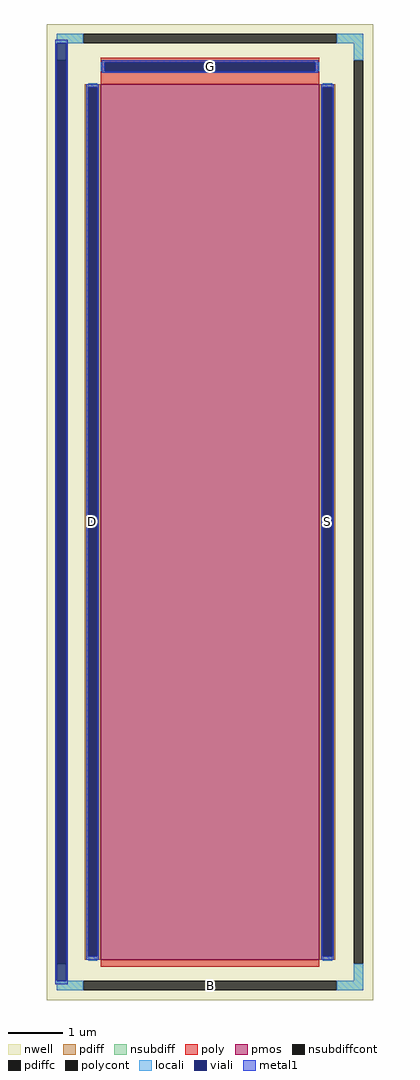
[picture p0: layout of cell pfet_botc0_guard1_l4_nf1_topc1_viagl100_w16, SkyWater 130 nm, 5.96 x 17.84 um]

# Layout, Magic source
magic
tech sky130A
magscale 1 2
<< nwell >>
rect -596 -1784 596 1784
<< pmos >>
rect -400 -1636 400 1564
<< pdiff >>
rect -458 1552 -400 1564
rect -458 -1624 -446 1552
rect -412 -1624 -400 1552
rect -458 -1636 -400 -1624
rect 400 1552 458 1564
rect 400 -1624 412 1552
rect 446 -1624 458 1552
rect 400 -1636 458 -1624
<< pdiffc >>
rect -446 -1624 -412 1552
rect 412 -1624 446 1552
<< nsubdiff >>
rect -560 1714 -464 1748
rect 464 1714 560 1748
rect -560 1651 -526 1714
rect 526 1651 560 1714
rect -560 -1714 -526 -1651
rect 526 -1714 560 -1651
rect -560 -1748 -464 -1714
rect 464 -1748 560 -1714
<< nsubdiffcont >>
rect -464 1714 464 1748
rect -560 -1651 -526 1651
rect 526 -1651 560 1651
rect -464 -1748 464 -1714
<< poly >>
rect -400 1645 400 1661
rect -400 1611 -384 1645
rect 384 1611 400 1645
rect -400 1564 400 1611
rect -400 -1662 400 -1636
<< polycont >>
rect -384 1611 384 1645
<< locali >>
rect -560 1714 -464 1748
rect 464 1714 560 1748
rect 526 1651 560 1714
rect -400 1611 -384 1645
rect 384 1611 400 1645
rect -446 1552 -412 1568
rect -446 -1640 -412 -1624
rect 412 1552 446 1568
rect 412 -1640 446 -1624
rect 526 -1714 560 -1651
rect -560 -1748 -464 -1714
rect 464 -1748 560 -1714
<< viali >>
rect -560 1651 -526 1714
rect -560 -1651 -526 1651
rect -384 1611 384 1645
rect -446 -1624 -412 1552
rect 412 -1624 446 1552
rect -560 -1714 -526 -1651
<< metal1 >>
rect -566 1714 -520 1726
rect -566 -1714 -560 1714
rect -526 -1714 -520 1714
rect -396 1645 396 1651
rect -396 1611 -384 1645
rect 384 1611 396 1645
rect -396 1605 396 1611
rect -452 1552 -406 1564
rect -452 -1624 -446 1552
rect -412 -1624 -406 1552
rect -452 -1636 -406 -1624
rect 406 1552 452 1564
rect 406 -1624 412 1552
rect 446 -1624 452 1552
rect 406 -1636 452 -1624
rect -566 -1726 -520 -1714
<< labels >>
rlabel nsubdiffcont 0 -1731 0 -1731 0 B
port 1 nsew
rlabel pdiffc -429 -36 -429 -36 0 D
port 2 nsew
rlabel pdiffc 429 -36 429 -36 0 S
port 3 nsew
rlabel polycont 0 1628 0 1628 0 G
port 4 nsew
<< properties >>
string FIXED_BBOX -543 -1731 543 1731
string gencell sky130_fd_pr__pfet_01v8
string library sky130
string parameters w 16 l 4 m 1 nf 1 diffcov 100 polycov 100 guard 1 glc 1 grc 1 gtc 1 gbc 1 tbcov 100 rlcov 100 topc 1 botc 0 poverlap 0 doverlap 1 lmin 0.15 wmin 0.42 class mosfet compatible {sky130_fd_pr__pfet_01v8  sky130_fd_pr__pfet_01v8_lvt sky130_fd_pr__pfet_01v8_hvt  sky130_fd_pr__pfet_g5v0d10v5} full_metal 1 conn_gates 0 viasrc 100 viadrn 100 viagate 100 viagb 0 viagr 0 viagl 100 viagt 0 doports 1
<< end >>
